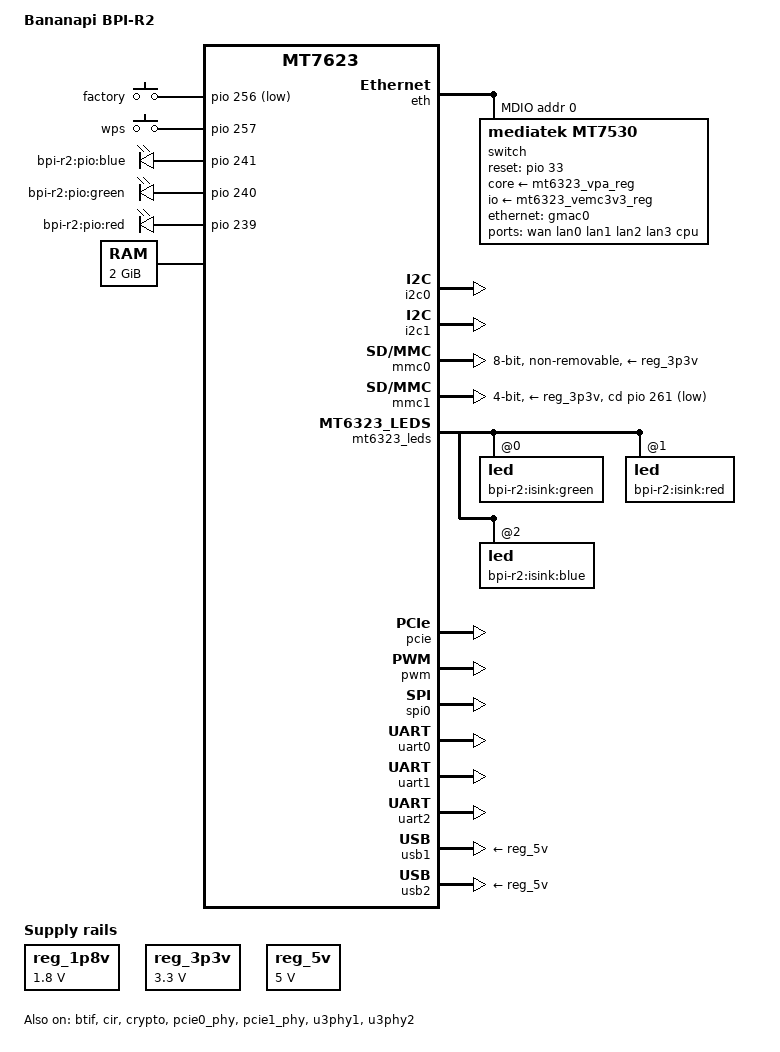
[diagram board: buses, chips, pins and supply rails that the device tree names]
/*
 * Copyright 2017-2018 Sean Wang <sean.wang@mediatek.com>
 *
 * SPDX-License-Identifier: (GPL-2.0+ OR MIT)
 */

/dts-v1/;
#include <dt-bindings/input/input.h>
#include "mt7623.dtsi"
#include "mt6323.dtsi"

/ {
	model = "Bananapi BPI-R2";
	compatible = "bananapi,bpi-r2", "mediatek,mt7623";

	aliases {
		serial2 = &uart2;
	};

	chosen {
		stdout-path = "serial2:115200n8";
	};

	cpus {
		cpu@0 {
			proc-supply = <&mt6323_vproc_reg>;
		};

		cpu@1 {
			proc-supply = <&mt6323_vproc_reg>;
		};

		cpu@2 {
			proc-supply = <&mt6323_vproc_reg>;
		};

		cpu@3 {
			proc-supply = <&mt6323_vproc_reg>;
		};
	};

	reg_1p8v: regulator-1p8v {
		compatible = "regulator-fixed";
		regulator-name = "fixed-1.8V";
		regulator-min-microvolt = <1800000>;
		regulator-max-microvolt = <1800000>;
		regulator-boot-on;
		regulator-always-on;
	};

	reg_3p3v: regulator-3p3v {
		compatible = "regulator-fixed";
		regulator-name = "fixed-3.3V";
		regulator-min-microvolt = <3300000>;
		regulator-max-microvolt = <3300000>;
		regulator-boot-on;
		regulator-always-on;
	};

	reg_5v: regulator-5v {
		compatible = "regulator-fixed";
		regulator-name = "fixed-5V";
		regulator-min-microvolt = <5000000>;
		regulator-max-microvolt = <5000000>;
		regulator-boot-on;
		regulator-always-on;
	};

	gpio-keys {
		compatible = "gpio-keys";
		pinctrl-names = "default";
		pinctrl-0 = <&key_pins_a>;

		factory {
			label = "factory";
			linux,code = <BTN_0>;
			gpios = <&pio 256 GPIO_ACTIVE_LOW>;
		};

		wps {
			label = "wps";
			linux,code = <KEY_WPS_BUTTON>;
			gpios = <&pio 257 GPIO_ACTIVE_HIGH>;
		};
	};

	leds {
		compatible = "gpio-leds";
		pinctrl-names = "default";
		pinctrl-0 = <&led_pins_a>;

		blue {
			label = "bpi-r2:pio:blue";
			gpios = <&pio 241 GPIO_ACTIVE_HIGH>;
			default-state = "off";
		};

		green {
			label = "bpi-r2:pio:green";
			gpios = <&pio 240 GPIO_ACTIVE_HIGH>;
			default-state = "off";
		};

		red {
			label = "bpi-r2:pio:red";
			gpios = <&pio 239 GPIO_ACTIVE_HIGH>;
			default-state = "off";
		};
	};

	memory@80000000 {
		device_type = "memory";
		reg = <0 0x80000000 0 0x80000000>;
	};
};

&btif {
	status = "okay";
};

&cir {
	pinctrl-names = "default";
	pinctrl-0 = <&cir_pins_a>;
	status = "okay";
};

&crypto {
	status = "okay";
};

&eth {
	status = "okay";

	gmac0: mac@0 {
		compatible = "mediatek,eth-mac";
		reg = <0>;
		phy-mode = "trgmii";

		fixed-link {
			speed = <1000>;
			full-duplex;
			pause;
		};
	};

	mdio: mdio-bus {
		#address-cells = <1>;
		#size-cells = <0>;

		switch@0 {
			compatible = "mediatek,mt7530";
			reg = <0>;
			reset-gpios = <&pio 33 0>;
			core-supply = <&mt6323_vpa_reg>;
			io-supply = <&mt6323_vemc3v3_reg>;

			ports {
				#address-cells = <1>;
				#size-cells = <0>;

				port@0 {
					reg = <0>;
					label = "wan";
				};

				port@1 {
					reg = <1>;
					label = "lan0";
				};

				port@2 {
					reg = <2>;
					label = "lan1";
				};

				port@3 {
					reg = <3>;
					label = "lan2";
				};

				port@4 {
					reg = <4>;
					label = "lan3";
				};

				port@6 {
					reg = <6>;
					label = "cpu";
					ethernet = <&gmac0>;
					phy-mode = "trgmii";

					fixed-link {
						speed = <1000>;
						full-duplex;
					};
				};
			};
		};
	};
};

&i2c0 {
	pinctrl-names = "default";
	pinctrl-0 = <&i2c0_pins_a>;
	status = "okay";
};

&i2c1 {
	pinctrl-names = "default";
	pinctrl-0 = <&i2c1_pins_a>;
	status = "okay";
};

&mmc0 {
	pinctrl-names = "default", "state_uhs";
	pinctrl-0 = <&mmc0_pins_default>;
	pinctrl-1 = <&mmc0_pins_uhs>;
	status = "okay";
	bus-width = <8>;
	max-frequency = <50000000>;
	cap-mmc-highspeed;
	vmmc-supply = <&reg_3p3v>;
	vqmmc-supply = <&reg_1p8v>;
	non-removable;
};

&mmc1 {
	pinctrl-names = "default", "state_uhs";
	pinctrl-0 = <&mmc1_pins_default>;
	pinctrl-1 = <&mmc1_pins_uhs>;
	status = "okay";
	bus-width = <4>;
	max-frequency = <50000000>;
	cap-sd-highspeed;
	cd-gpios = <&pio 261 GPIO_ACTIVE_LOW>;
	vmmc-supply = <&reg_3p3v>;
	vqmmc-supply = <&reg_3p3v>;
};

&mt6323_leds {
	status = "okay";

	led@0 {
		reg = <0>;
		label = "bpi-r2:isink:green";
		default-state = "off";
	};

	led@1 {
		reg = <1>;
		label = "bpi-r2:isink:red";
		default-state = "off";
	};

	led@2 {
		reg = <2>;
		label = "bpi-r2:isink:blue";
		default-state = "off";
	};
};

&pcie {
	pinctrl-names = "default";
	pinctrl-0 = <&pcie_default>;
	status = "okay";

	pcie@0,0 {
		status = "okay";
	};

	pcie@1,0 {
		status = "okay";
	};
};

&pcie0_phy {
	status = "okay";
};

&pcie1_phy {
	status = "okay";
};

&pwm {
	pinctrl-names = "default";
	pinctrl-0 = <&pwm_pins_a>;
	status = "okay";
};

&spi0 {
	pinctrl-names = "default";
	pinctrl-0 = <&spi0_pins_a>;
	status = "okay";
};

&uart0 {
	pinctrl-names = "default";
	pinctrl-0 = <&uart0_pins_a>;
	status = "okay";
};

&uart1 {
	pinctrl-names = "default";
	pinctrl-0 = <&uart1_pins_a>;
	status = "okay";
};

&uart2 {
	pinctrl-names = "default";
	pinctrl-0 = <&uart2_pins_a>;
	status = "okay";
};

&usb1 {
	vusb33-supply = <&reg_3p3v>;
	vbus-supply = <&reg_5v>;
	status = "okay";
};

&usb2 {
	vusb33-supply = <&reg_3p3v>;
	vbus-supply = <&reg_5v>;
	status = "okay";
};

&u3phy1 {
	status = "okay";
};

&u3phy2 {
	status = "okay";
};

